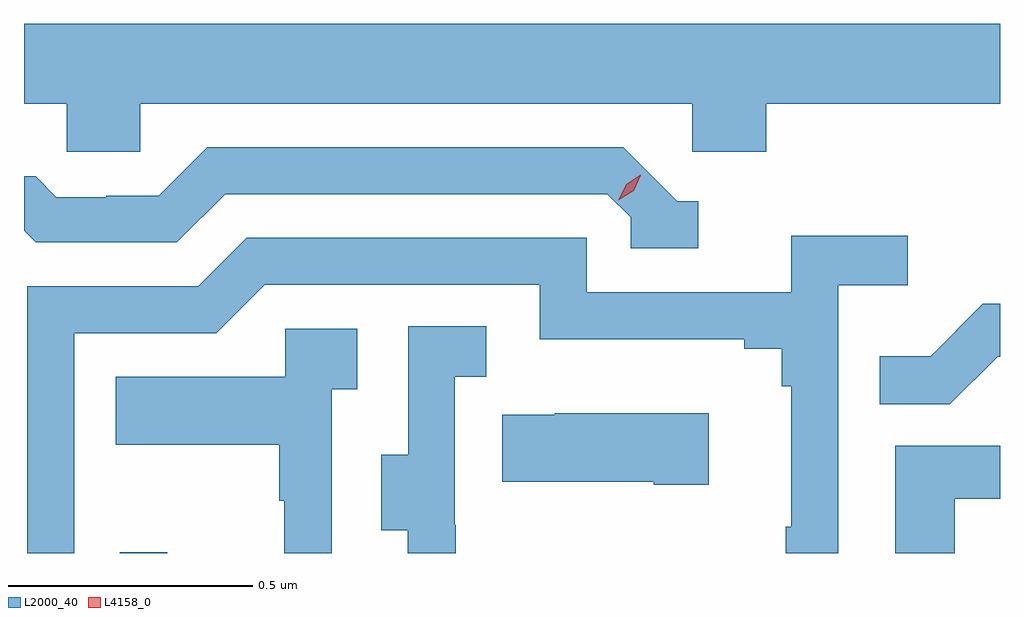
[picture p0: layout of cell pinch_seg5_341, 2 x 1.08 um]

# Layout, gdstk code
import gdstk
lib = gdstk.Library(unit=1e-6, precision=1e-09)
def R(c, l, rs):  # rectangles x0, y0, x1, y1
    for r in rs: c.add(gdstk.rectangle(r[:2], r[2:], *l))
def P(c, l, *ps):  # polygons
    for p in ps: c.add(gdstk.Polygon(p, *l))
L2000_40 = (2000, 40)
L4158_0 = (4158, 0)

pinch_seg5_341 = lib.new_cell('pinch_seg5_341')
R(pinch_seg5_341, L2000_40, [(928.785,891.803,928.883,891.805)])
P(pinch_seg5_341, L2000_40, [(928.827,892.724),(929.958,892.724),(929.958,892.626),(930.11,892.626),(930.11,892.724),(930.589,892.724),(930.589,892.888),(928.589,892.888),(928.589,892.724),(928.677,892.724),(928.677,892.626),(928.827,892.626)],
  [(929.971,892.524),(929.928,892.524),(929.817,892.635),(928.964,892.635),(928.865,892.536),(928.758,892.536),(928.758,892.533),(928.655,892.533),(928.613,892.576),(928.589,892.576),(928.589,892.464),(928.613,892.44),(928.902,892.44),(929.001,892.539),(929.784,892.539),(929.832,892.491),(929.832,892.428),(929.971,892.428)],
  [(928.692,892.254),(928.983,892.254),(929.082,892.353),(929.646,892.353),(929.646,892.241),(930.065,892.241),(930.065,892.222),(930.142,892.222),(930.142,892.145),(930.161,892.145),(930.161,891.857),(930.15,891.857),(930.15,891.803),(930.258,891.803),(930.258,892.352),(930.4,892.352),(930.4,892.454),(930.161,892.454),(930.161,892.338),(929.742,892.338),(929.742,892.449),(929.045,892.449),(928.946,892.35),(928.596,892.35),(928.596,891.803),(928.692,891.803)],
  [(930.584,892.206),(930.589,892.206),(930.589,892.314),(930.554,892.314),(930.447,892.207),(930.343,892.207),(930.343,892.108),(930.486,892.108)],
  [(929.474,891.861),(929.472,891.861),(929.472,892.165),(929.536,892.165),(929.536,892.268),(929.376,892.268),(929.376,892.005),(929.321,892.005),(929.321,891.85),(929.375,891.85),(929.375,891.803),(929.474,891.803)],
  [(929.22,892.139),(929.272,892.139),(929.272,892.263),(929.124,892.263),(929.124,892.165),(928.777,892.165),(928.777,892.025),(929.112,892.025),(929.112,891.911),(929.122,891.911),(929.122,891.803),(929.22,891.803)],
  [(929.992,892.09),(929.677,892.09),(929.677,892.087),(929.569,892.087),(929.569,891.95),(929.879,891.95),(929.879,891.943),(929.992,891.943)],
  [(930.496,891.915),(930.589,891.915),(930.589,892.023),(930.374,892.023),(930.374,891.803),(930.496,891.803)])
P(pinch_seg5_341, L4158_0, [(929.807,892.526),(929.807,892.526),(929.823,892.559),(929.853,892.579),(929.853,892.579),(929.853,892.578),(929.838,892.546),(929.807,892.526)])

lib.write_gds('pinch_seg5_341.gds')
